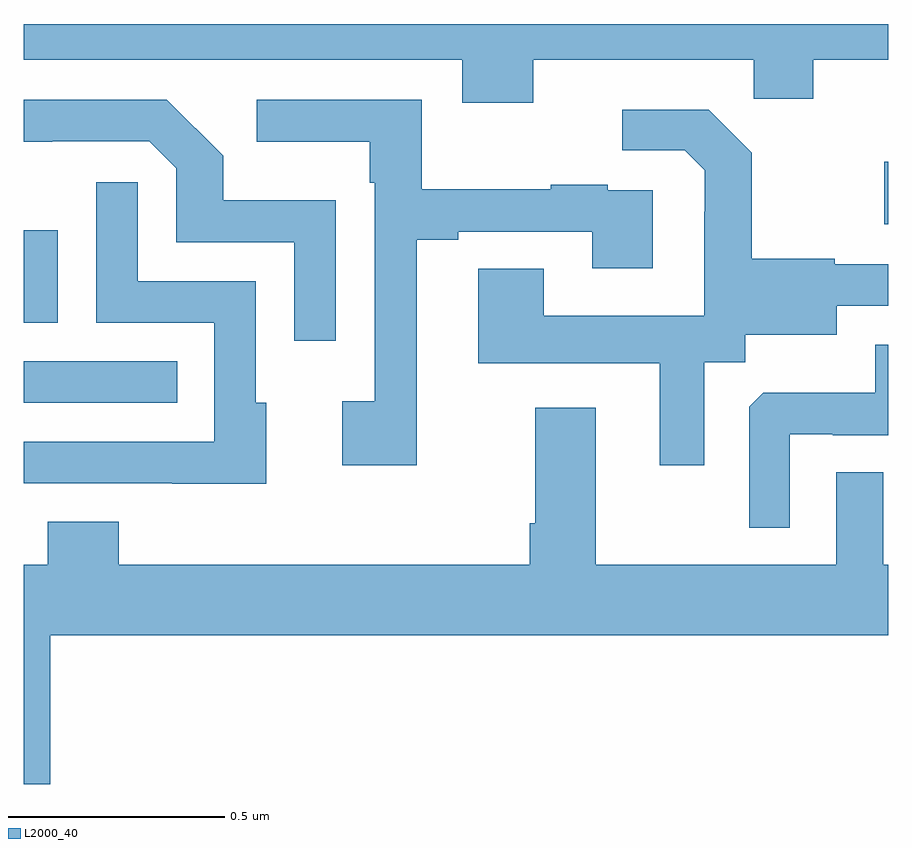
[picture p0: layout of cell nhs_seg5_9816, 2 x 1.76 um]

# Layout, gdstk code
import gdstk
lib = gdstk.Library(unit=1e-6, precision=1e-09)
def R(c, l, rs):  # rectangles x0, y0, x1, y1
    for r in rs: c.add(gdstk.rectangle(r[:2], r[2:], *l))
def P(c, l, *ps):  # polygons
    for p in ps: c.add(gdstk.Polygon(p, *l))
L2000_40 = (2000, 40)

nhs_seg5_9816 = lib.new_cell('nhs_seg5_9816')
R(nhs_seg5_9816, L2000_40, [(238,899.922,238.355,900.018), (238,900.107,238.078,900.322), (239.991,900.336,240,900.48)])
P(nhs_seg5_9816, L2000_40, [(239.179,900.716),(239.689,900.716),(239.689,900.626),(239.827,900.626),(239.827,900.716),(240,900.716),(240,900.799),(238,900.799),(238,900.716),(239.015,900.716),(239.015,900.617),(239.179,900.617)],
  [(238.722,900.391),(238.461,900.391),(238.461,900.494),(238.33,900.624),(238,900.624),(238,900.527),(238.066,900.527),(238.066,900.528),(238.29,900.528),(238.353,900.465),(238.353,900.294),(238.626,900.294),(238.626,900.066),(238.722,900.066)],
  [(238.909,900.3),(239.005,900.3),(239.005,900.318),(239.315,900.318),(239.315,900.234),(239.455,900.234),(239.455,900.414),(239.351,900.414),(239.351,900.427),(239.219,900.427),(239.219,900.416),(238.921,900.416),(238.921,900.624),(238.539,900.624),(238.539,900.527),(238.8,900.527),(238.8,900.431),(238.812,900.431),(238.812,899.926),(238.737,899.926),(238.737,899.778),(238.909,899.778)],
  [(239.575,900.016),(239.67,900.016),(239.67,900.08),(239.881,900.08),(239.881,900.147),(240,900.147),(240,900.243),(239.877,900.243),(239.877,900.256),(239.685,900.256),(239.685,900.501),(239.585,900.601),(239.385,900.601),(239.385,900.507),(239.529,900.507),(239.576,900.46),(239.576,900.365),(239.574,900.365),(239.574,900.124),(239.203,900.124),(239.203,900.233),(239.051,900.233),(239.051,900.014),(239.471,900.014),(239.471,899.778),(239.575,899.778)],
  [(238.561,899.922),(238.536,899.922),(238.536,900.204),(238.263,900.204),(238.263,900.433),(238.167,900.433),(238.167,900.108),(238.44,900.108),(238.44,899.832),(238,899.832),(238,899.736),(238.343,899.736),(238.343,899.735),(238.561,899.735)],
  [(239.772,899.85),(239.872,899.85),(239.872,899.847),(240,899.847),(240,900.057),(239.97,900.057),(239.97,899.945),(239.711,899.945),(239.679,899.913),(239.679,899.633),(239.772,899.633)],
  [(238.061,899.384),(240,899.384),(240,899.548),(239.989,899.548),(239.989,899.762),(239.88,899.762),(239.88,899.548),(239.323,899.548),(239.323,899.911),(239.183,899.911),(239.183,899.644),(239.171,899.644),(239.171,899.548),(238.219,899.548),(238.219,899.647),(238.055,899.647),(238.055,899.548),(238,899.548),(238,899.04),(238.061,899.04)])

lib.write_gds('nhs_seg5_9816.gds')
